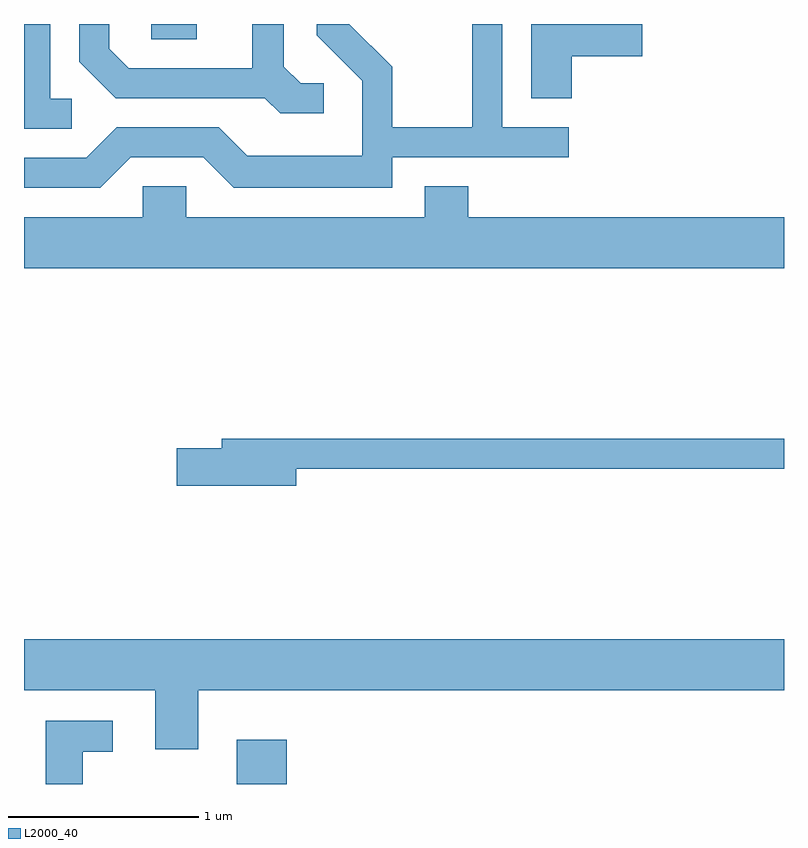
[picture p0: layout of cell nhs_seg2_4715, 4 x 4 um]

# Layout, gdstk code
import gdstk
lib = gdstk.Library(unit=1e-6, precision=1e-09)
def R(c, l, rs):  # rectangles x0, y0, x1, y1
    for r in rs: c.add(gdstk.rectangle(r[:2], r[2:], *l))
def P(c, l, *ps):  # polygons
    for p in ps: c.add(gdstk.Polygon(p, *l))
L2000_40 = (2000, 40)

nhs_seg2_4715 = lib.new_cell('nhs_seg2_4715')
R(nhs_seg2_4715, L2000_40, [(324.731,1067.802,324.994,1068.034), (324.281,1071.721,324.519,1071.802)])
P(nhs_seg2_4715, L2000_40, [(325.188,1071.489),(325.067,1071.489),(324.979,1071.577),(324.979,1071.802),(324.811,1071.802),(324.811,1071.569),(324.162,1071.569),(324.059,1071.672),(324.059,1071.802),(323.901,1071.802),(323.901,1071.604),(324.094,1071.411),(324.879,1071.411),(324.959,1071.331),(325.188,1071.331)],
  [(326.494,1071.631),(326.864,1071.631),(326.864,1071.802),(326.281,1071.802),(326.281,1071.411),(326.494,1071.411)],
  [(324.172,1071.101),(324.554,1071.101),(324.714,1070.941),(325.549,1070.941),(325.549,1071.101),(326.478,1071.101),(326.478,1071.259),(326.129,1071.259),(326.129,1071.802),(325.971,1071.802),(325.971,1071.259),(325.549,1071.259),(325.549,1071.577),(325.324,1071.802),(325.151,1071.802),(325.151,1071.744),(325.391,1071.504),(325.391,1071.109),(324.787,1071.109),(324.637,1071.259),(324.099,1071.259),(323.939,1071.099),(323.611,1071.099),(323.611,1070.941),(324.012,1070.941)],
  [(323.863,1071.409),(323.749,1071.409),(323.749,1071.802),(323.611,1071.802),(323.611,1071.251),(323.863,1071.251)],
  [(327.611,1070.784),(325.949,1070.784),(325.949,1070.949),(325.721,1070.949),(325.721,1070.784),(324.464,1070.784),(324.464,1070.949),(324.236,1070.949),(324.236,1070.784),(323.611,1070.784),(323.611,1070.516),(327.611,1070.516)],
  [(325.044,1069.461),(327.611,1069.461),(327.611,1069.619),(324.651,1069.619),(324.651,1069.569),(324.416,1069.569),(324.416,1069.371),(325.044,1069.371)],
  [(324.529,1068.296),(327.611,1068.296),(327.611,1068.564),(323.611,1068.564),(323.611,1068.296),(324.301,1068.296),(324.301,1067.986),(324.529,1067.986)],
  [(323.919,1067.971),(324.078,1067.971),(324.078,1068.134),(323.726,1068.134),(323.726,1067.802),(323.919,1067.802)])

lib.write_gds('nhs_seg2_4715.gds')
